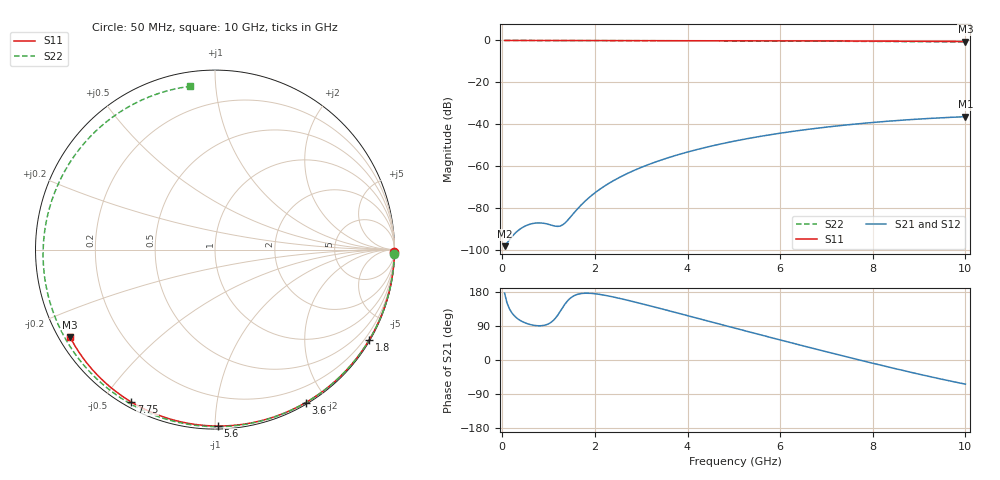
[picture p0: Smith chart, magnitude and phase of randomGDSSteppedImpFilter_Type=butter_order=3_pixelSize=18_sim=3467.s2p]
! freq	dB(S11)	phase(S11)	dB(S12)	phase(S12)
!  dB(S21)	phase(S21)	dB(S22)	phase(S22)
!S-par simulation data
#  GHz  S  DB  R 50
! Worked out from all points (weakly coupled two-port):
!   200 points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, 50 MHz to 10 GHz, reference 50 ohm
!   highest |S21| = -36.32 dB at 10 GHz (marker M1); lowest = -98.0 dB at 50 MHz (marker M2)
!   lowest |S11| = -0.5 dB at 10 GHz (marker M3), VSWR 34.43, Z = 1.57 - j14 ohm
!   |S11| at or under -10 dB: nowhere
!   |S22| runs from -0.7 to 0.0 dB; largest |S21 - S12| = 0
!   S11 on the Smith chart (normalised r, x): 50 MHz: open; 1.8 GHz: 0.03, -3.68; 3.6 GHz: 0.02, -1.76; 5.6 GHz: 0.02, -1.02; 7.75 GHz: 0.02, -0.59; 10 GHz: 0.03, -0.28
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0.05  -0.00 -0.8  -98.01 176.1  -98.01 176.1  -0.00 -1.3
0.8  -0.02 -13.6  -86.92 90.3  -86.92 90.3  -0.02 -21.3
1.6  -0.03 -27.1  -80.84 172.3  -80.84 172.3  -0.05 -42.1
1.65  -0.04 -27.9  -79.62 174.1  -79.62 174.1  -0.05 -43.4
1.75  -0.04 -29.6  -77.36 176.0  -77.36 176.0  -0.06 -46.0
1.8  -0.04 -30.4  -76.31 176.2  -76.31 176.2  -0.06 -47.3
2.1  -0.05 -35.3  -70.98 173.2  -70.98 173.2  -0.07 -54.9
2.45  -0.05 -41.0  -66.19 164.9  -66.19 164.9  -0.08 -63.6
2.9  -0.06 -48.3  -61.40 151.9  -61.40 151.9  -0.10 -74.7
3.4  -0.07 -56.2  -57.20 136.3  -57.20 136.3  -0.11 -86.7
3.6  -0.08 -59.3  -55.75 129.9  -55.75 129.9  -0.12 -91.5
4.3  -0.10 -70.0  -51.44 107.4  -51.44 107.4  -0.15 -107.9
5.05  -0.13 -81.2  -47.79 83.2  -47.79 83.2  -0.19 -125.2
5.6  -0.15 -89.1  -45.59 65.6  -45.59 65.6  -0.23 -137.9
6.15  -0.17 -96.9  -43.70 48.2  -43.70 48.2  -0.27 -150.7
6.7  -0.20 -104.5  -42.07 31.0  -42.07 31.0  -0.31 -163.9
7.25  -0.24 -112.0  -40.67 14.0  -40.67 14.0  -0.37 -177.6
7.75  -0.28 -118.8  -39.57 -1.1  -39.57 -1.1  -0.42 169.4
8.35  -0.33 -126.8  -38.44 -18.9  -38.44 -18.9  -0.49 152.7
9.15  -0.41 -137.4  -37.24 -41.6  -37.24 -41.6  -0.60 128.1
9.6  -0.46 -143.4  -36.72 -53.6  -36.72 -53.6  -0.66 113.1
10  -0.50 -148.7  -36.32 -63.7  -36.32 -63.7  -0.72 98.8
